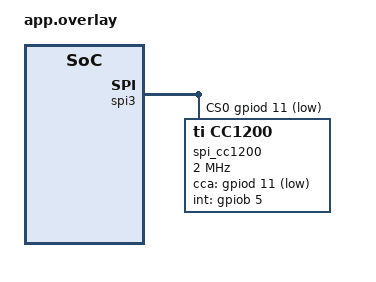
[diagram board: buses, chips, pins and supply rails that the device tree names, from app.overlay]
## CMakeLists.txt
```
list(APPEND ZEPHYR_EXTRA_MODULES /home/leonid/zephyrproject/zephyr/zephyr_lmtltd_light/lmtlib_light)
cmake_minimum_required(VERSION 3.20)

set(BOARD SOVA427VI)

find_package(Zephyr REQUIRED HINTS ZEPHYR_BASE)

project(cc-app-minimal)

include_directories(Inc)

file(GLOB_RECURSE SOURCES "src/*.*")

target_sources(app PRIVATE ${SOURCES})
```

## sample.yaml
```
sample:
  name: app-minimal
```

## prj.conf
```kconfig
CONFIG_MAIN_STACK_SIZE=8196
CONFIG_ENTROPY_GENERATOR=y
CONFIG_INIT_STACKS=y

CONFIG_FLASH_MAP=y
CONFIG_SETTINGS_RUNTIME=y
CONFIG_SETTINGS_NVS=y

CONFIG_NET_STATISTICS=y
CONFIG_DEBUG_OPTIMIZATIONS=n
CONFIG_DEBUG_INFO=y
CONFIG_ASSERT=y

CONFIG_NETWORKING=y
CONFIG_NET_LOG=y
CONFIG_NET_SHELL=y
CONFIG_NET_BUF=y
CONFIG_NET_IPV6=y
CONFIG_NET_UDP=y
CONFIG_NET_SOCKETS=y

CONFIG_NEWLIB_LIBC=y

CONFIG_NET_PKT_RX_COUNT=16
CONFIG_NET_PKT_TX_COUNT=16
CONFIG_NET_BUF_RX_COUNT=80
CONFIG_NET_BUF_TX_COUNT=80
CONFIG_NET_CONTEXT_NET_PKT_POOL=y

CONFIG_SPI=y
CONFIG_IEEE802154_CC1200=y
# CONFIG_NET_L2_IEEE802154_SHELL=y

CONFIG_NET_L2_OPENTHREAD=y
CONFIG_OPENTHREAD_THREAD_VERSION_1_3=y
CONFIG_OPENTHREAD_JOINER=y
CONFIG_OPENTHREAD_JOINER_AUTOSTART=y
CONFIG_OPENTHREAD_FTD=y
CONFIG_OPENTHREAD_SHELL=y
CONFIG_OPENTHREAD_COAP=y
CONFIG_OPENTHREAD_CHANNEL=11
CONFIG_OPENTHREAD_PANID=64206
CONFIG_OPENTHREAD_NETWORK_NAME="OpenThread"
# CONFIG_OPENTHREAD_MANUAL_START=y

CONFIG_SETTINGS_SHELL=y

CONFIG_NET_IF_MAX_IPV6_COUNT=2

CONFIG_OPENTHREAD_COPROCESSOR_UART_RING_BUFFER_SIZE=2048
CONFIG_NET_PKT_RX_COUNT=64
CONFIG_NET_BUF_RX_COUNT=64
CONFIG_NET_PKT_TX_COUNT=256
CONFIG_NET_BUF_TX_COUNT=256
CONFIG_NRF_802154_RX_BUFFERS=32
# CONFIG_OPENTHREAD_NUM_MESSAGE_BUFFERS=256
```

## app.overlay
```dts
/ {
	
	aliases {
		ti-cc1200 = &spi_cc1200;
	};
	chosen {
		zephyr,ieee802154 = &spi_cc1200;
	};
};

&spi3 {
	cs-gpios = <&gpiod 11 GPIO_ACTIVE_LOW>;
	status = "okay";

	spi_cc1200: cc1200@0 {
		compatible = "ti,cc1200";
		cca-gpios = <&gpiod 11 GPIO_ACTIVE_LOW>;
		reg = <0>;
		spi-max-frequency = <2000000>;
		int-gpios = <&gpiob 5 GPIO_ACTIVE_HIGH>;
		status= "okay";
	};

};
```

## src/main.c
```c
#include <zephyr/device.h>
#include <zephyr/devicetree.h>

#include <zephyr/logging/log.h>
#include <zephyr/net/ieee802154_radio.h>
#include <zephyr/net/openthread.h>
LOG_MODULE_REGISTER(min_application, LOG_LEVEL_INF);

int main()
{
	openthread_start(openthread_get_default_context());
}
```
